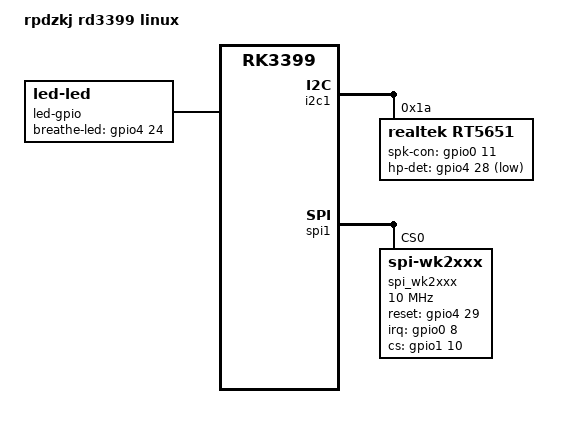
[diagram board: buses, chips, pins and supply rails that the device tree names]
#include "rk3399-sapphire-excavator-linux.dtsi"
#include "rp-usb-typea.dtsi"

/ {

        model = "rpdzkj rd3399 linux";
        compatible = "rockchip,rk3399-excavator-linux", "rockchip,rk3399";

        rt5651-sound {
                compatible = "simple-audio-card";
                simple-audio-card,format = "i2s";
                simple-audio-card,name = "realtek,rt5651-codec";
                simple-audio-card,mclk-fs = <256>;
                simple-audio-card,widgets =
                        "Microphone", "Mic Jack",
                        "Headphone", "Headphone Jack";
                simple-audio-card,routing =
                        "Mic Jack", "MICBIAS1",
                        "IN1P", "Mic Jack",
                        "Headphone Jack", "HPOL",
                        "Headphone Jack", "HPOR";
                simple-audio-card,cpu {
                        sound-dai = <&i2s0>;
                };
                simple-audio-card,codec {
                        sound-dai = <&rt5651>;
                };
        };

        led-gpio {
                compatible = "led-led";
                breathe-led = <&gpio4 24 GPIO_ACTIVE_HIGH>;
        };

        rp_gpio{
                status = "okay";
                compatible = "rp_gpio";
                base_value = <0>; //3288_5.1 = 0   3288_7.1.2 = 992  3288_ubuntu = 992   3399_7.1.2 = 1000 3399_ubuntu = 0  

		gpio0 {
                	gpio_num = <&gpio4 21 GPIO_ACTIVE_LOW>;
                        gpio_function = <0>;            //0:output，1:input
                };

		gpio1 {
                	gpio_num = <&gpio4 25 GPIO_ACTIVE_LOW>;
                        gpio_function = <0>;            //0:output，1:input
                };

		gpio2 {
                	gpio_num = <&gpio4 27 GPIO_ACTIVE_LOW>;
                        gpio_function = <0>;            //0:output，1:input
                };

                fan_open {
                        gpio_num = <&gpio1 18 GPIO_ACTIVE_HIGH>;
                        gpio_function = <0>;            //0:output，1:input
                };
                hub_rst {
                        gpio_num = <&gpio1 24 GPIO_ACTIVE_HIGH>;
                        gpio_function = <0>;            //0:output，1:input
                };
                5v_power_en {
                        gpio_num = <&gpio4 30 GPIO_ACTIVE_HIGH>;
                        gpio_function = <0>;            //0:output，1:input
                };
                3v3_power_en {
                        gpio_num = <&gpio4 22 GPIO_ACTIVE_HIGH>;
                        gpio_function = <0>;            //0:output，1:input
                };

	};

};

&i2c1 {
        status = "okay";
        i2c-scl-rising-time-ns = <300>;
        i2c-scl-falling-time-ns = <15>;

        rt5651: rt5651@1a {
                #sound-dai-cells = <0>;
                compatible = "realtek,rt5651";
                reg = <0x1a>;
                clocks = <&cru SCLK_I2S_8CH_OUT>;
                clock-names = "mclk";
                pinctrl-names = "default";
                pinctrl-0 = <&i2s_8ch_mclk>;
                spk-con-gpio = <&gpio0 11 GPIO_ACTIVE_HIGH>;
                hp-det-gpio = <&gpio4 28 GPIO_ACTIVE_LOW>;
        };

};

&hdmi_sound {
	status = "disabled";
};

&spi1 {
        status = "okay";
        spi_wk2xxx: spi_wk2xxx@00{
                status = "okay";
                compatible = "spi-wk2xxx";
                reg = <0>;
                spi-max-frequency = <10000000>;
                reset-gpio = <&gpio4 29 GPIO_ACTIVE_HIGH>;
                irq-gpio = <&gpio0 8 IRQ_TYPE_EDGE_FALLING>;
                cs-gpio = <&gpio1 10 GPIO_ACTIVE_HIGH>;
        };

};
&fiq_debugger {
       rockchip,baudrate = <115200>;  /* Only 115200 and 1500000 */
};

&dfi {
       status = "disabled";
};
 
&dmc {
       status = "disabled";
};




